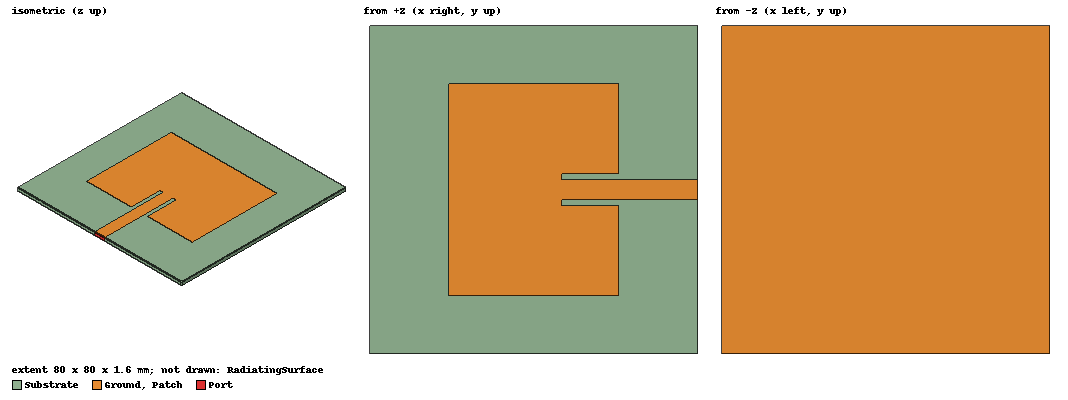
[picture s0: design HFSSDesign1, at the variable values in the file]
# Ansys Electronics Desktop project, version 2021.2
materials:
  vacuum: permittivity=1
  Rogers RT/duroid 5880 (tm): permittivity=2.2 dielectric_loss_tangent=0.0009

design HFSSDesign1 (HFSS, DrivenModal, model units mm)
options: Save_Adaptive_support_files
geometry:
  Substrate [Rogers RT/duroid 5880 (tm)] = box(corner=(-40mm, -40mm, 0mm), size=(80mm, 80mm, 1.6mm))
  Ground = rectangle(corner=(-40mm, -40mm, 0mm), x_size=80mm, y_size=80mm)
  Patch = rectangle(corner=((-41.3/2) mm, (-51.55/2) mm, 1.6mm), x_size=41.3mm, y_size=51.55mm)
  Feedline = rectangle(corner=(40mm, (-4.93/2) mm, 1.6mm), x_size=(-40+6.8) mm, y_size=4.93mm)
  Rectangle1 = rectangle(corner=(6.8mm, 2.465mm, 1.6mm), x_size=13.85mm, y_size=1.5mm)
  Rectangle2 = rectangle(corner=(6.8mm, (-2.465-1.5) mm, 1.6mm), x_size=13.85mm, y_size=1.5mm)
  Patch.unite(Feedline)
  Patch.subtract(Rectangle1, Rectangle2)
  Port = rectangle(corner=(40mm, -2.465mm, 1.6mm), y_size=4.93mm, z_size=-1.6mm)
  RadiatingSurface [vacuum] = region(absolute_offset=43.478261mm on all sides)
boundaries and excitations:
  PerfE1: Perfect E Objects=Ground
  PerfE2: Perfect E Objects=Patch
  Open1: Radiation Objects=RadiatingSurface
  1: Lumped Port Objects=Port Modes{Mode1{IntLine{middle of Port.edge(z opposite corner) -> middle of Port.edge(z at corner)} CharImp=Zpi RenormImp=50ohm}} Impedance=50ohm
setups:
  Setup1: HfssDriven Frequency=2.3GHz MaxDeltaS=0.02 MaximumPasses=6 MinimumPasses=1 MinimumConvergedPasses=1 PercentRefinement=30 BasisOrder=1 PortAccuracy=2
    sweep Sweep: 2GHz to 2.5GHz, 451 points; Type=Interpolating InterpTolerance=0.5 InterpMaxSolns=250 InterpUsePortImped=false PassivityErrorTolerance=0.0001
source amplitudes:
  1:1: 1W 0deg
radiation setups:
  3D: Infinite Sphere Theta=0deg..180deg step 2deg Phi=-180deg..180deg step 2deg
  Elevation: Infinite Sphere Theta=-180deg..180deg step 1deg Phi=0deg..90deg step 90deg
  Azimuth: Infinite Sphere Theta=90deg..90deg step 0deg Phi=-180deg..180deg step 1deg
  Inf_ff: Infinite Sphere Theta=-180deg..180deg step 10deg Phi=-90deg..90deg step 10deg
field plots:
  Mag_Jsurf1: Jsurf over Patch.face(at (0, 0, 1.6)) on Setup1 : LastAdaptive at Freq=2.3GHz Phase=0deg
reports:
  XY Plot 1: dB(S(1,1)) vs Freq on Setup1 : Sweep
  Radiation Pattern 1: dB(GainTotal) vs Theta on Setup1 : LastAdaptive, Inf_ff [Phi=0deg,90deg Freq=2.3GHz]; markers m1 at 0deg
  Radiation Pattern 2: dB(GainL3X), dB(GainL3Y) vs Theta on Setup1 : LastAdaptive, Inf_ff [Phi=0deg,90deg Freq=2.3GHz]; markers m1 at 0deg
  Radiation Pattern 3: dB(DirTotal) vs Theta on Setup1 : LastAdaptive, Inf_ff [Phi=all Freq=2.3GHz]
  3D Polar Plot 1: dB(GainTotal) vs Phi, Theta on Setup1 : LastAdaptive, Inf_ff [Freq=2.3GHz]
